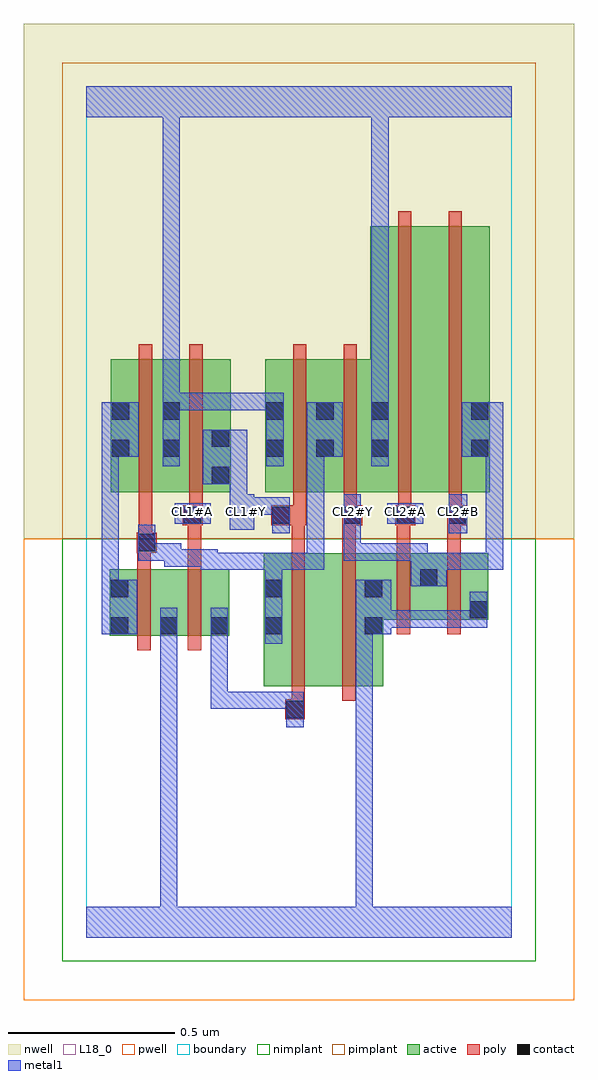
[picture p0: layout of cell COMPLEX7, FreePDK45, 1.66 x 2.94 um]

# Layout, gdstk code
import gdstk
lib = gdstk.Library(unit=1e-6, precision=1e-09)
def R(c, l, rs):  # rectangles x0, y0, x1, y1
    for r in rs: c.add(gdstk.rectangle(r[:2], r[2:], *l))
def A(c, l, x, y, w, h, nx, ny, dx, dy):  # array of equal rectangles
    R(c, l, [(x+i*dx, y+j*dy, x+i*dx+w, y+j*dy+h) for i in range(nx) for j in range(ny)])
active = (1, 0)
pwell = (2, 0)
nwell = (3, 0)
nimplant = (4, 0)
pimplant = (5, 0)
poly = (9, 0)
contact = (10, 0)
metal1 = (11, 0)
L18_0 = (18, 0)
boundary = (235, 0)

complex7 = lib.new_cell('COMPLEX7')
R(complex7, active, [(0.534,0.756,0.594,1.156), (0.534,0.756,0.714,1.156), (0.714,0.756,0.894,1.156), (0.834,0.756,0.894,1.156), (0.07,0.908,0.13,1.108), (0.07,0.908,0.278,1.108), (0.218,0.908,0.43,1.108), (0.218,0.908,0.278,1.028), (0.37,0.908,0.43,1.108), (0.834,0.956,1.06,1.156), (1,0.956,1.21,1.156), (1,0.956,1.06,1.112), (1.15,0.956,1.21,1.156), (0.074,1.34,0.134,1.644), (0.074,1.34,0.286,1.74), (0.226,1.34,0.434,1.74), (0.374,1.34,0.434,1.644), (0.538,1.34,0.598,1.74), (0.538,1.34,0.748,1.74), (0.688,1.34,0.748,1.74), (0.688,1.34,0.914,1.74), (0.854,1.34,1.034,2.14), (0.854,1.34,0.914,2.14), (1.034,1.34,1.214,2.14), (1.154,1.34,1.214,2.044), (0.226,1.442,0.286,1.644)])
R(complex7, pwell, [(-0.188,-0.188,1.468,1.2)])
R(complex7, nwell, [(-0.188,1.2,1.468,2.748)])
R(complex7, nimplant, [(-0.072,-0.072,1.352,1.2)])
R(complex7, pimplant, [(-0.072,1.2,1.352,2.632)])
R(complex7, poly, [(0.598,0.656,0.658,0.716), (0.618,0.676,0.658,0.752), (0.618,0.712,0.658,1.2), (0.77,0.712,0.81,1.2), (0.154,0.864,0.194,1.152), (0.306,0.864,0.346,1.152), (0.934,0.912,0.974,1.2), (1.086,0.912,1.126,1.2), (0.154,1.112,0.194,1.198), (0.306,1.112,0.346,1.28), (0.152,1.158,0.212,1.218), (0.618,1.16,0.658,1.28), (0.77,1.16,0.81,1.28), (0.934,1.16,0.974,1.28), (1.086,1.16,1.126,1.28), (0.158,1.178,0.198,1.218), (0.158,1.178,0.198,1.218), (0.158,1.178,0.198,1.336), (0.29,1.24,0.35,1.3), (0.306,1.24,0.346,1.28), (0.306,1.24,0.346,1.28), (0.556,1.24,0.662,1.3), (0.618,1.24,0.658,1.28), (0.618,1.24,0.658,1.28), (0.77,1.24,0.83,1.3), (0.93,1.24,0.99,1.3), (0.934,1.24,0.974,1.28), (0.934,1.24,0.974,1.28), (1.086,1.24,1.126,1.28), (1.086,1.24,1.126,1.28), (1.086,1.24,1.146,1.3), (0.31,1.26,0.35,1.336), (0.622,1.26,0.662,1.336), (0.774,1.26,0.814,1.336), (0.774,1.26,0.814,1.3), (0.774,1.26,0.814,1.3), (0.938,1.26,0.978,1.336), (1.09,1.26,1.13,1.336), (0.158,1.296,0.198,1.784), (0.31,1.296,0.35,1.784), (0.622,1.296,0.662,1.784), (0.774,1.296,0.814,1.784), (0.938,1.296,0.978,2.184), (1.09,1.296,1.13,2.184)])
R(complex7, contact, [(0.602,0.66,0.654,0.712), (0.074,0.912,0.126,0.964), (0.222,0.912,0.274,0.964), (0.374,0.912,0.426,0.964), (0.538,0.912,0.59,0.964), (0.838,0.912,0.89,0.964), (1.154,0.96,1.206,1.012), (0.074,1.024,0.126,1.076), (0.538,1.024,0.59,1.076), (0.838,1.024,0.89,1.076), (1.004,1.056,1.056,1.108), (0.156,1.162,0.208,1.214), (0.294,1.244,0.346,1.296), (0.56,1.244,0.612,1.296), (0.774,1.244,0.826,1.296), (0.934,1.244,0.986,1.296), (1.09,1.244,1.142,1.296), (0.378,1.364,0.43,1.416), (0.078,1.446,0.13,1.498), (0.23,1.446,0.282,1.498), (0.542,1.446,0.594,1.498), (0.692,1.446,0.744,1.498), (0.858,1.446,0.91,1.498), (1.158,1.446,1.21,1.498), (0.378,1.476,0.43,1.528), (0.078,1.558,0.13,1.61), (0.23,1.558,0.282,1.61), (0.542,1.558,0.594,1.61), (0.692,1.558,0.744,1.61), (0.858,1.558,0.91,1.61), (1.158,1.558,1.21,1.61)])
R(complex7, metal1, [(0,0,1.28,0.092), (0.222,0.04,0.274,0.092), (0.222,0.04,0.274,0.092), (0.222,0.04,0.274,0.092), (0.222,0.04,0.274,0.092), (0.222,0.04,0.274,0.092), (0.222,0.04,0.274,0.092), (0.222,0.04,0.274,0.092), (0.222,0.04,0.274,0.092), (0.222,0.04,0.274,0.092), (0.222,0.04,0.274,0.092), (0.222,0.04,0.274,0.092), (0.222,0.04,0.274,0.092), (0.222,0.04,0.274,0.092), (0.222,0.04,0.274,0.092), (0.222,0.04,0.274,0.936), (0.81,0.04,0.862,0.092), (0.81,0.04,0.862,0.092), (0.81,0.04,0.862,0.092), (0.81,0.04,0.862,0.092), (0.81,0.04,0.862,0.092), (0.81,0.04,0.862,0.092), (0.81,0.04,0.862,0.092), (0.81,0.04,0.862,0.092), (0.81,0.04,0.862,0.964), (0.602,0.632,0.654,0.74), (0.374,0.688,0.426,0.74), (0.374,0.688,0.426,0.74), (0.374,0.688,0.426,0.74), (0.374,0.688,0.606,0.74), (0.374,0.688,0.426,0.936), (0.554,0.688,0.606,0.74), (0.554,0.688,0.654,0.74), (0.222,0.884,0.274,0.936), (0.222,0.884,0.274,0.936), (0.222,0.884,0.274,0.992), (0.374,0.884,0.426,0.936), (0.374,0.884,0.426,0.936), (0.374,0.884,0.426,0.992), (0.538,0.884,0.59,1.104), (0.046,0.912,0.154,1.076), (0.81,0.912,0.862,0.964), (0.81,0.912,0.862,0.964), (0.81,0.912,0.862,0.964), (0.81,0.912,0.862,0.964), (0.81,0.912,0.918,1.076), (0.866,0.932,1.028,0.984), (0.976,0.932,1.028,0.984), (0.976,0.932,1.028,0.984), (0.976,0.932,1.028,0.984), (0.976,0.932,1.028,0.984), (0.976,0.932,1.028,0.984), (0.976,0.932,1.028,0.984), (0.976,0.932,1.028,0.984), (0.976,0.932,1.206,0.984), (1.154,0.932,1.206,0.984), (1.154,0.932,1.206,0.984), (1.154,0.932,1.206,1.04), (0.046,1.024,0.098,1.498), (0.538,1.052,0.59,1.158), (0.976,1.056,1.028,1.158), (0.976,1.056,1.084,1.108), (0.344,1.106,0.396,1.158), (0.344,1.106,0.396,1.158), (0.344,1.106,0.59,1.158), (0.344,1.106,0.396,1.168), (0.538,1.106,0.59,1.158), (0.538,1.106,0.716,1.158), (0.664,1.106,0.716,1.498), (0.664,1.106,0.716,1.158), (0.664,1.106,0.716,1.158), (0.664,1.106,0.716,1.158), (0.976,1.106,1.028,1.158), (0.976,1.106,1.028,1.158), (0.976,1.106,1.254,1.158), (0.976,1.106,1.028,1.186), (1.202,1.106,1.254,1.498), (1.202,1.106,1.254,1.158), (1.202,1.106,1.254,1.158), (1.202,1.106,1.254,1.158), (1.202,1.106,1.254,1.158), (1.202,1.106,1.254,1.158), (0.234,1.116,0.396,1.168), (0.234,1.116,0.286,1.186), (0.156,1.134,0.208,1.242), (0.156,1.134,0.286,1.186), (0.774,1.134,1.028,1.186), (0.774,1.134,0.826,1.268), (0.56,1.216,0.612,1.324), (0.774,1.216,0.826,1.268), (0.774,1.216,0.826,1.334), (1.09,1.216,1.146,1.334), (0.432,1.226,0.506,1.334), (0.266,1.244,0.374,1.306), (0.906,1.244,1.014,1.306), (0.454,1.272,0.506,1.324), (0.454,1.272,0.506,1.324), (0.454,1.272,0.612,1.324), (0.432,1.282,0.484,1.416), (0.35,1.364,0.484,1.528), (0.23,1.418,0.282,1.638), (0.542,1.418,0.594,1.638), (0.858,1.418,0.91,1.638), (0.046,1.446,0.098,1.498), (0.046,1.446,0.098,1.498), (0.046,1.446,0.098,1.498), (0.046,1.446,0.098,1.498), (0.046,1.446,0.158,1.61), (0.664,1.446,0.716,1.498), (0.664,1.446,0.716,1.498), (0.664,1.446,0.772,1.61), (1.13,1.446,1.254,1.61), (0.23,1.586,0.282,1.638), (0.23,1.586,0.282,1.638), (0.23,1.586,0.282,2.52), (0.23,1.586,0.396,1.638), (0.344,1.586,0.396,1.638), (0.344,1.586,0.396,1.638), (0.344,1.586,0.396,1.638), (0.344,1.586,0.594,1.638), (0.858,1.586,0.91,1.638), (0.858,1.586,0.91,1.638), (0.858,1.586,0.91,2.52), (0,2.468,1.28,2.56), (0.23,2.468,0.282,2.52), (0.23,2.468,0.282,2.52), (0.23,2.468,0.282,2.52), (0.23,2.468,0.282,2.52), (0.23,2.468,0.282,2.52), (0.23,2.468,0.282,2.52), (0.23,2.468,0.282,2.52), (0.23,2.468,0.282,2.52), (0.23,2.468,0.282,2.52), (0.23,2.468,0.282,2.52), (0.23,2.468,0.282,2.52), (0.23,2.468,0.282,2.52), (0.23,2.468,0.282,2.52), (0.23,2.468,0.282,2.52), (0.858,2.468,0.91,2.52), (0.858,2.468,0.91,2.52), (0.858,2.468,0.91,2.52), (0.858,2.468,0.91,2.52), (0.858,2.468,0.91,2.52), (0.858,2.468,0.91,2.52)])
A(complex7, L18_0, 0.774, 1.254, 0.052, 0.052, 3, 1, 0.16, 0)
R(complex7, L18_0, [(0,0,1.28,0.092), (0.222,0.04,0.274,0.092), (0.222,0.04,0.274,0.092), (0.222,0.04,0.274,0.092), (0.222,0.04,0.274,0.092), (0.222,0.04,0.274,0.092), (0.222,0.04,0.274,0.092), (0.222,0.04,0.274,0.092), (0.222,0.04,0.274,0.092), (0.222,0.04,0.274,0.092), (0.222,0.04,0.274,0.092), (0.222,0.04,0.274,0.092), (0.222,0.04,0.274,0.092), (0.222,0.04,0.274,0.092), (0.222,0.04,0.274,0.092), (0.222,0.04,0.274,0.936), (0.81,0.04,0.862,0.092), (0.81,0.04,0.862,0.092), (0.81,0.04,0.862,0.092), (0.81,0.04,0.862,0.092), (0.81,0.04,0.862,0.092), (0.81,0.04,0.862,0.092), (0.81,0.04,0.862,0.092), (0.81,0.04,0.862,0.092), (0.81,0.04,0.862,0.964), (0.602,0.632,0.654,0.74), (0.374,0.688,0.426,0.74), (0.374,0.688,0.426,0.74), (0.374,0.688,0.426,0.74), (0.374,0.688,0.426,0.936), (0.374,0.688,0.606,0.74), (0.554,0.688,0.606,0.74), (0.554,0.688,0.654,0.74), (0.222,0.884,0.274,0.936), (0.222,0.884,0.274,0.936), (0.222,0.884,0.274,0.992), (0.374,0.884,0.426,0.936), (0.374,0.884,0.426,0.936), (0.374,0.884,0.426,0.992), (0.81,0.912,0.862,0.964), (0.81,0.912,0.862,0.964), (0.81,0.912,0.862,0.964), (0.81,0.912,0.862,0.964), (0.81,0.912,0.918,1.076), (0.866,0.932,1.028,0.984), (0.976,0.932,1.028,0.984), (0.976,0.932,1.028,0.984), (0.976,0.932,1.028,0.984), (0.976,0.932,1.028,0.984), (0.976,0.932,1.028,0.984), (0.976,0.932,1.028,0.984), (0.976,0.932,1.028,0.984), (0.976,0.932,1.206,0.984), (1.154,0.932,1.206,0.984), (1.154,0.932,1.206,0.984), (1.154,0.932,1.206,1.04), (0.976,1.056,1.084,1.108), (0.976,1.056,1.028,1.158), (0.976,1.106,1.028,1.158), (0.976,1.106,1.028,1.158), (0.976,1.106,1.028,1.186), (0.976,1.106,1.254,1.158), (1.202,1.106,1.254,1.158), (1.202,1.106,1.254,1.158), (1.202,1.106,1.254,1.158), (1.202,1.106,1.254,1.158), (1.202,1.106,1.254,1.158), (1.202,1.106,1.254,1.498), (0.774,1.134,0.826,1.268), (0.774,1.134,1.028,1.186), (0.56,1.216,0.612,1.324), (0.774,1.216,0.826,1.268), (0.774,1.216,0.826,1.334), (1.09,1.216,1.146,1.334), (0.432,1.226,0.506,1.334), (0.266,1.244,0.374,1.306), (0.906,1.244,1.014,1.306), (0.294,1.254,0.346,1.306), (0.454,1.254,0.506,1.306), (0.454,1.272,0.506,1.324), (0.454,1.272,0.506,1.324), (0.454,1.272,0.612,1.324), (0.432,1.282,0.484,1.416), (0.35,1.364,0.484,1.528), (0.23,1.418,0.282,1.638), (0.542,1.418,0.594,1.638), (0.858,1.418,0.91,1.638), (1.13,1.446,1.254,1.61), (0.23,1.586,0.282,1.638), (0.23,1.586,0.282,1.638), (0.23,1.586,0.282,2.52), (0.23,1.586,0.396,1.638), (0.344,1.586,0.396,1.638), (0.344,1.586,0.396,1.638), (0.344,1.586,0.396,1.638), (0.344,1.586,0.594,1.638), (0.858,1.586,0.91,1.638), (0.858,1.586,0.91,1.638), (0.858,1.586,0.91,2.52), (0,2.468,1.28,2.56), (0.23,2.468,0.282,2.52), (0.23,2.468,0.282,2.52), (0.23,2.468,0.282,2.52), (0.23,2.468,0.282,2.52), (0.23,2.468,0.282,2.52), (0.23,2.468,0.282,2.52), (0.23,2.468,0.282,2.52), (0.23,2.468,0.282,2.52), (0.23,2.468,0.282,2.52), (0.23,2.468,0.282,2.52), (0.23,2.468,0.282,2.52), (0.23,2.468,0.282,2.52), (0.23,2.468,0.282,2.52), (0.23,2.468,0.282,2.52), (0.858,2.468,0.91,2.52), (0.858,2.468,0.91,2.52), (0.858,2.468,0.91,2.52), (0.858,2.468,0.91,2.52), (0.858,2.468,0.91,2.52), (0.858,2.468,0.91,2.52)])
R(complex7, boundary, [(0,0,1.28,2.56)])
complex7.add(gdstk.Label('CL1#A', (0.32,1.28), layer=11, texttype=0))
complex7.add(gdstk.Label('CL1#Y', (0.48,1.28), layer=11, texttype=0))
complex7.add(gdstk.Label('CL2#A', (0.96,1.28), layer=11, texttype=0))
complex7.add(gdstk.Label('CL2#B', (1.12,1.28), layer=11, texttype=0))
complex7.add(gdstk.Label('CL2#Y', (0.8,1.28), layer=11, texttype=0))

lib.write_gds('COMPLEX7.gds')
